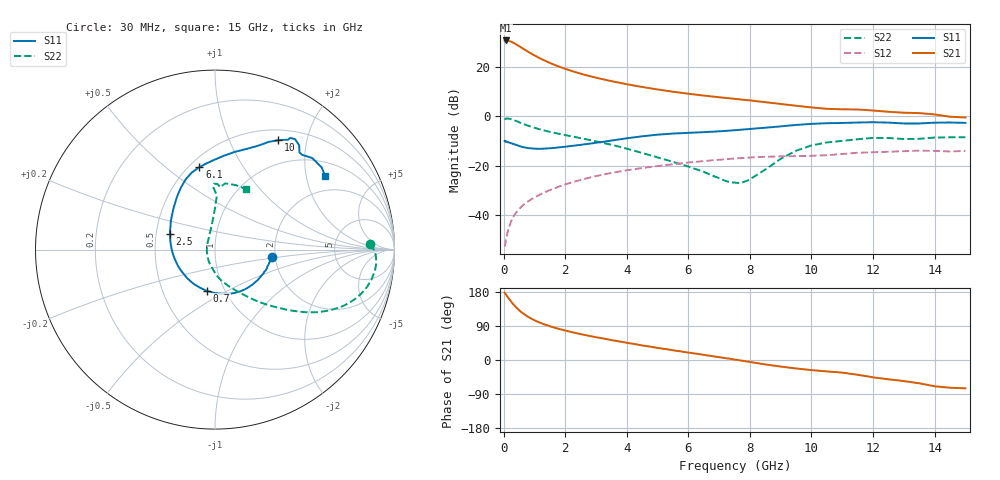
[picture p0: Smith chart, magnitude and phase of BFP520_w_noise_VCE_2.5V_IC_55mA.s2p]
! Infineon Technologies  Discrete & RF Semiconductors
! BFP520
! VCE =  2.5 V,  IC =  55 mA
! Common Emitter S-Parameters:  Oct 2015
# GHz  S  MA  R  50
!  f  S11  S21  S12  S22
! GHz  MAG  ANG  MAG  ANG  MAG  ANG  MAG  ANG
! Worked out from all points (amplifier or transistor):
!   109 points, 30 MHz to 15 GHz, reference 50 ohm
!   highest |S21| = 30.6 dB at 70 MHz (marker M1)
!   |S21| within 3 dB of that: start of sweep to 592 MHz
!   unconditionally stable (mu >= 1): start of sweep to 57.07 MHz; 1.425 GHz to end of sweep
!   at 450 MHz: K = 0.58, MSG = 33.4 dB, |S12| = -38.1 dB
!   at 4 GHz: K = 1.26, MAG = 14.3 dB, |S12| = -21.8 dB
!   at 15 GHz: K = 1.34, MAG = 3.3 dB, |S12| = -13.9 dB
!   lowest NFmin = 3.45 dB at 450 MHz
!   S11 on the Smith chart (normalised r, x): 30 MHz: 1.92, -0.18; 700 MHz: 0.83, -0.40; 2.5 GHz: 0.59, +0.11; 6.1 GHz: 0.56, +0.66; 10 GHz: 0.64, +1.54; 15 GHz: 1.43, +2.58
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0.03  0.3194 -7.4  33.73 177.7  0.0024 113.0  0.8642 1.9
0.07  0.31 -14.3  33.93 173.1  0.0032 95.4  0.8934 -1.4
0.14  0.3011 -25.9  33.57 165.2  0.0049 84.6  0.8996 -6.7
0.2  0.2922 -35.7  32.76 158.6  0.0065 80.6  0.8879 -10.8
0.25  0.2851 -43.6  31.87 153.3  0.0078 78.6  0.8717 -13.9
0.35  0.2723 -58.4  29.67 143.7  0.0103 75.7  0.8296 -19.2
0.5  0.2522 -78.1  26.08 131.6  0.0135 72.7  0.7613 -25.2
0.7  0.2346 -101.0  21.8 118.8  0.0175 70.5  0.6793 -30.8
0.8  0.2283 -110.9  19.96 113.6  0.0194 69.8  0.6448 -32.8
1  0.2229 -128.1  16.95 104.9  0.0231 68.9  0.5871 -36.1
1.3  0.2227 -148.9  13.61 94.7  0.0287 67.8  0.5213 -40.0
1.8  0.2364 -174.7  10.06 82.0  0.0383 65.6  0.4428 -45.1
2.5  0.2659 160.3  7.263 68.4  0.0521 61.1  0.3629 -51.4
2.6  0.2714 157.4  6.967 66.6  0.0541 60.4  0.3527 -52.3
3.5  0.3246 135.7  5.12 52.5  0.0721 52.8  0.2666 -61.6
5.1  0.4309 110.9  3.412 30.7  0.1009 38.6  0.1423 -86.7
6.1  0.4668 100.7  2.807 18.4  0.1184 29.7  0.0923 -104.6
7.6  0.5299 83.5  2.221 0.0  0.1421 15.5  0.0453 176.5
10  0.7038 60.0  1.511 -26.7  0.1598 -5.7  0.2589 89.1
10.5  0.7263 57.4  1.417 -30.1  0.1642 -7.9  0.2968 88.1
13  0.7174 49.0  1.182 -55.6  0.198 -29.8  0.3479 85.0
15  0.7383 33.8  0.948 -74.7  0.2007 -46.4  0.3783 63.3
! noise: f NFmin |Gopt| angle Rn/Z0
0.45  3.45  0.22  -160  0.3
0.9  3.45  0.24  -152  0.32
1.9  3.61  0.32  -128  0.42
2.4  3.64  0.33  -125  0.4
3.5  3.7  0.31  -111  0.51
